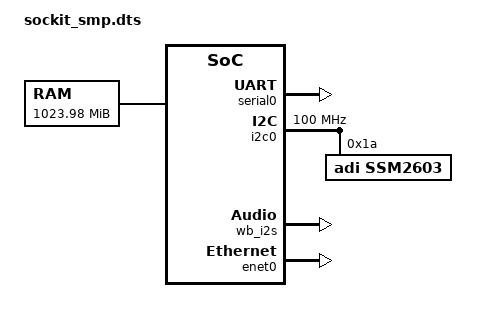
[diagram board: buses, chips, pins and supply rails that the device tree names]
/dts-v1/;
/ {
	compatible = "fusesoc,sockit";
	#address-cells = <1>;
	#size-cells = <1>;
	interrupt-parent = <&pic>;

	chosen {
/*		bootargs = "console=uart,mmio,0x90000000,115200 video=ocfb:640x480-16@60";*/
/*		bootargs = "console=uart,mmio,0x90000000,115200 root=/dev/nfs nfsroot=192.168.255.100:/home/stefan/openrisc/debian/initramfs,nolock ip=dhcp rootwait rw nfsrootdebug debug video=ocfb:640x480-8@60";*/
/*		bootargs = "console=uart,mmio,0x90000000,115200 root=/dev/nfs nfsroot=192.168.255.100:/home/stefan/openrisc/rootfs/musl-root,nolock ip=dhcp rootwait rw nfsrootdebug debug video=ocfb:640x480-8@60";*/
		bootargs = "console=tty0 console=uart,mmio,0x90000000,115200 root=/dev/nfs nfsroot=192.168.255.100:/home/stefan/openrisc/rootfs/build/or1k-toolchain/sysroot,nolock ip=dhcp rootwait rw nfsrootdebug debug video=ocfb:640x480-8@60";
	};

	memory@0 {
		device_type = "memory";
		reg = <0x00000000 0x3fffc000>;
/*		reg = <0x00000000 0x40000000>;*/
	};

	cpus {
		#address-cells = <1>;
		#size-cells = <0>;
		cpu@0 {
			compatible = "openrisc,mor1kx-v3";
			reg = <0>;
			clock-frequency = <100000000>;
		};
		cpu@1 {
			compatible = "openrisc,mor1kx-v3";
			reg = <1>;
			clock-frequency = <100000000>;
		};
		cpu@2 {
			compatible = "openrisc,mor1kx-v3";
			reg = <2>;
			clock-frequency = <100000000>;
		};
		cpu@3 {
			compatible = "openrisc,mor1kx-v3";
			reg = <3>;
			clock-frequency = <100000000>;
		};
	};

	ompic: ompic {
		compatible = "ompic";
		reg = <0x98000000 0x100>;
		#interrupt-cells = <1>;
		interrupt-controller;
		interrupts = <1>;
	};

	/*
	 * OR1K PIC is built into CPU and accessed via special purpose
	 * registers.  It is not addressable and, hence, has no 'reg'
	 * property.
	 */
	pic: pic {
		compatible = "opencores,or1k-pic-level";
		#interrupt-cells = <1>;
		interrupt-controller;
	};

	serial0: serial@90000000 {
		compatible = "opencores,uart16550-rtlsvn105", "ns16550a";
		reg = <0x90000000 0x20>;
		interrupts = <2>;
		clock-frequency = <100000000>;
	};


	i2c0: ocores@a0000000 {
		#address-cells = <1>;
		#size-cells = <0>;
		compatible = "opencores,i2c-ocores";
		reg = <0xa0000000 0x8>;
		interrupts = <10>;
		clock-frequency = <100000000>;

		reg-shift = <0>;	/* 8 bit registers */
		reg-io-width = <1>;	/* 8 bit read/write */

		ssm2603: ssm2603@1a {
			#sound-dai-cells = <0>;
			compatible = "adi,ssm2603";
			reg = <0x1a>;
		};
	};

	wb_dma0: wb_streamer@95000000 {
		compatible = "wb-streamer-dma";
		reg = <0x95000000 0x100>;
		interrupts = <11>;
		#dma-cells = <1>;
		#dma-channels = <1>;
	};

	wb_i2s: wb_i2s@95000100 {
		#sound-dai-cells = <0>;
		compatible = "wb-i2s";
		reg = <0x95000100 0x100>;
		dmas = <&wb_dma0 0>;
		dma-names = "tx";
/*
		dmas = <&wb_dma 0 &wb_dma 1>;
		dma-names = "tx", "rx";
*/
	};

	sound {
		compatible = "simple-audio-card";
		simple-audio-card,format = "i2s";

		simple-audio-card,cpu {
			sound-dai = <&wb_i2s>;
		};

		simple-audio-card,codec {
			sound-dai = <&ssm2603>;
			/*system-clock-frequency = <12288000>;*/
			system-clock-frequency = <11289600>;
		};
	};

	enet0: ethoc@92000000 {
		compatible = "opencores,ethmac-rtlsvn338";
		reg = <0x92000000 0x100>;
		interrupts = <4>;
	};

	fb0: ocfb@97000000 {
		compatible = "opencores,ocfb";
		reg = <0x97000000 0x1000>;
	};
};
